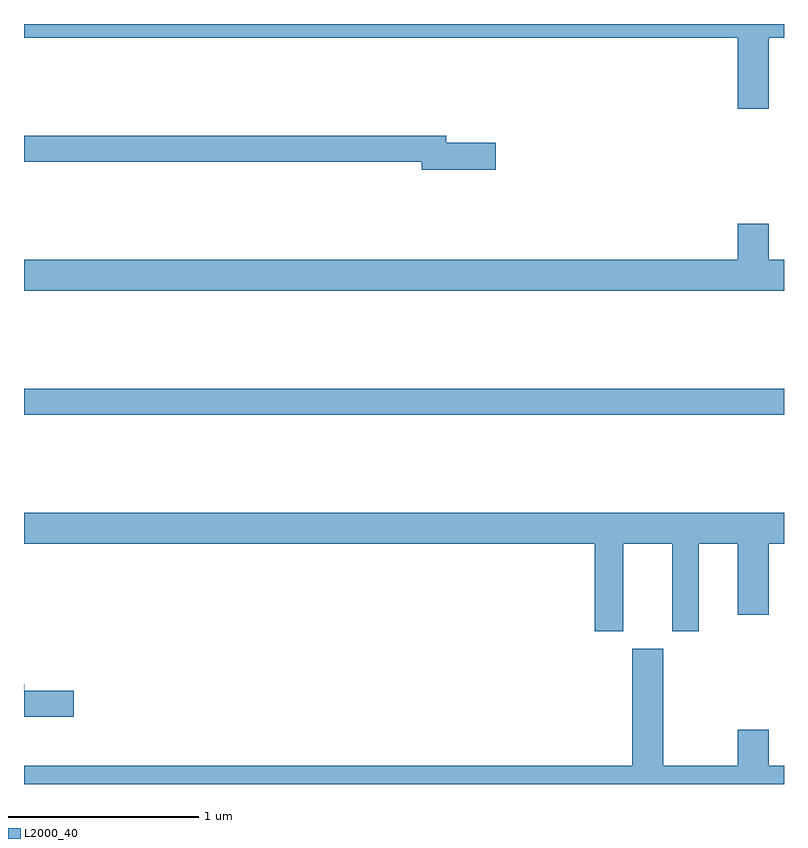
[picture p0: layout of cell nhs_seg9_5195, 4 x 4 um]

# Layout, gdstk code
import gdstk
lib = gdstk.Library(unit=1e-6, precision=1e-09)
def R(c, l, rs):  # rectangles x0, y0, x1, y1
    for r in rs: c.add(gdstk.rectangle(r[:2], r[2:], *l))
def P(c, l, *ps):  # polygons
    for p in ps: c.add(gdstk.Polygon(p, *l))
L2000_40 = (2000, 40)

nhs_seg9_5195 = lib.new_cell('nhs_seg9_5195')
R(nhs_seg9_5195, L2000_40, [(413,1186.444,417,1186.58)])
P(nhs_seg9_5195, L2000_40, [(416.92,1188.428),(417,1188.428),(417,1188.5),(413,1188.5),(413,1188.428),(416.756,1188.428),(416.756,1188.054),(416.92,1188.054)],
  [(415.483,1187.876),(415.222,1187.876),(415.222,1187.912),(413,1187.912),(413,1187.776),(415.094,1187.776),(415.094,1187.734),(415.483,1187.734)],
  [(417,1187.26),(416.92,1187.26),(416.92,1187.449),(416.756,1187.449),(416.756,1187.26),(413,1187.26),(413,1187.096),(417,1187.096)],
  [(416.155,1185.764),(416.411,1185.764),(416.411,1185.303),(416.551,1185.303),(416.551,1185.764),(416.756,1185.764),(416.756,1185.39),(416.92,1185.39),(416.92,1185.764),(417,1185.764),(417,1185.928),(413,1185.928),(413,1185.764),(416.003,1185.764),(416.003,1185.303),(416.155,1185.303)],
  [(417,1184.596),(416.92,1184.596),(416.92,1184.785),(416.756,1184.785),(416.756,1184.596),(416.365,1184.596),(416.365,1185.211),(416.201,1185.211),(416.201,1184.596),(413,1184.596),(413,1184.5),(417,1184.5)],
  [(413.263,1184.99),(413.002,1184.99),(413.002,1185.026),(413,1185.026),(413,1184.855),(413.263,1184.855)])

lib.write_gds('nhs_seg9_5195.gds')
